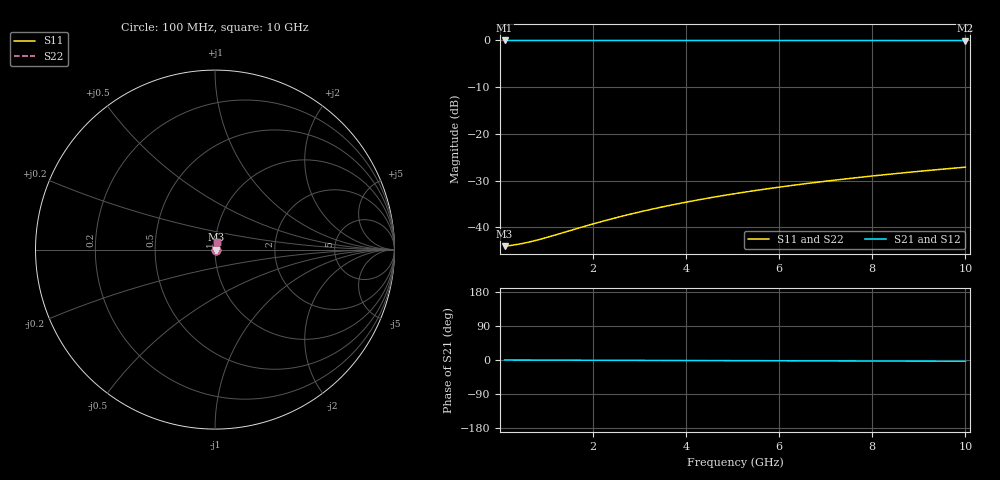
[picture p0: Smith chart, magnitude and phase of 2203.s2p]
# Hz S RI R 50.00
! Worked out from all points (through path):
!   100 points, 100 MHz to 10 GHz, reference 50 ohm
!   highest |S21| = -0.05 dB at 100 MHz (marker M1); lowest = -0.1 dB at 10 GHz (marker M2)
!   lowest |S11| = -44.0 dB at 100 MHz (marker M3), VSWR 1.01, Z = 50.6 + j0.0436 ohm
!   |S11| at or under -10 dB: start of sweep to end of sweep
!   |S22| runs from -44.0 to -27.1 dB; largest |S21 - S12| = 0
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1e8  0.00628 0.00043  0.9937 -0.00058  0.9937 -0.00058  0.00628 0.00043
3e8  0.00635 0.00129  0.9936 -0.00174  0.9936 -0.00174  0.00635 0.00129
4e8  0.00638 0.00172  0.9936 -0.00232  0.9936 -0.00232  0.00638 0.00172
5e8  0.0064 0.00215  0.9936 -0.0029  0.9936 -0.0029  0.0064 0.00215
7e8  0.00644 0.00301  0.9936 -0.00406  0.9936 -0.00406  0.00644 0.00301
9e8  0.00648 0.00387  0.9935 -0.00521  0.9935 -0.00521  0.00648 0.00387
1.1e9  0.00651 0.00473  0.9935 -0.00637  0.9935 -0.00637  0.00651 0.00473
1.8e9  0.00663 0.00774  0.9934 -0.0104  0.9934 -0.0104  0.00663 0.00774
2.2e9  0.0067 0.00946  0.9933 -0.0127  0.9933 -0.0127  0.0067 0.00946
2.6e9  0.00677 0.0112  0.9932 -0.0151  0.9932 -0.0151  0.00677 0.0112
3e9  0.00685 0.0129  0.9931 -0.0174  0.9931 -0.0174  0.00685 0.0129
3.4e9  0.00693 0.0146  0.993 -0.0197  0.993 -0.0197  0.00693 0.0146
3.8e9  0.00703 0.0163  0.993 -0.022  0.993 -0.022  0.00703 0.0163
4.2e9  0.00712 0.0181  0.9929 -0.0243  0.9929 -0.0243  0.00712 0.0181
4.6e9  0.00723 0.0198  0.9927 -0.0266  0.9927 -0.0266  0.00723 0.0198
5.1e9  0.00737 0.0219  0.9926 -0.0295  0.9926 -0.0295  0.00737 0.0219
5.9e9  0.00762 0.0254  0.9923 -0.0342  0.9923 -0.0342  0.00762 0.0254
6.7e9  0.0079 0.0288  0.992 -0.0388  0.992 -0.0388  0.0079 0.0288
7.5e9  0.00821 0.0322  0.9917 -0.0434  0.9917 -0.0434  0.00821 0.0322
8.4e9  0.0086 0.0361  0.9913 -0.0487  0.9913 -0.0487  0.0086 0.0361
9.2e9  0.00898 0.0395  0.9909 -0.0533  0.9909 -0.0533  0.00898 0.0395
1e10  0.00939 0.043  0.9905 -0.0579  0.9905 -0.0579  0.00939 0.043
